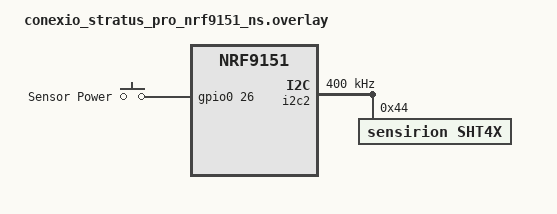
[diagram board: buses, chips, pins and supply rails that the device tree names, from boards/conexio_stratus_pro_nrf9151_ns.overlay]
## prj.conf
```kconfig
#
# Copyright (c) 2024 Conexio Technologies, Inc
#
# SPDX-License-Identifier: Apache-2.0
#

CONFIG_CBPRINTF_FP_SUPPORT=y

# Enable I2C
CONFIG_I2C=y

# Enable sensors
CONFIG_SENSOR=y

# Enable SHT4X sensor
CONFIG_SHT4X=y
CONFIG_PM_DEVICE=y

CONFIG_LOG=y
CONFIG_SENSOR_LOG_LEVEL_DBG=y

# Enable nPM1300 fuel gauge and Regulator control
CONFIG_REGULATOR=y
CONFIG_NRF_FUEL_GAUGE=y

# Enable Zephyr application to be booted by MCUboot
CONFIG_BOOTLOADER_MCUBOOT=y
```

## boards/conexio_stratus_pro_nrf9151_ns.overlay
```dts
/*
 * Copyright (c) 2024 Conexio Technologies, Inc
 *
 * SPDX-License-Identifier: Apache-2.0
 */

/*
 * Stratus Pro nRF9151 device overlay configuration for SHT4x sensor connected to QWIIC port
 *
 */
&i2c2 {
	status = "okay";
	clock-frequency = <I2C_BITRATE_FAST>;
	sht4x@44 {
		status = "okay";
		compatible = "sensirion,sht4x";
		reg = <0x44>;
		repeatability = <2>;
	};
};

/ {
    aliases {
        power = &powerctrl;
    };
    gpio_keys {
        compatible = "gpio-keys";
        powerctrl: power_ctrl {
            gpios = <&gpio0 26 GPIO_ACTIVE_HIGH>;
            label = "Sensor Power";
        };
    };
};
```

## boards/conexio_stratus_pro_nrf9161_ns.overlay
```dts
/*
 * Copyright (c) 2024 Conexio Technologies, Inc
 *
 * SPDX-License-Identifier: Apache-2.0
 */

/*
 * Stratus Pro nRF9161 device overlay configuration for SHT4x sensor connected to QWIIC port
 *
 */
&i2c2 {
	status = "okay";
	clock-frequency = <I2C_BITRATE_FAST>;
	sht4x@44 {
		status = "okay";
		compatible = "sensirion,sht4x";
		reg = <0x44>;
		repeatability = <2>;
	};
};

/ {
    aliases {
        power = &powerctrl;
    };
    gpio_keys {
        compatible = "gpio-keys";
        powerctrl: power_ctrl {
            gpios = <&gpio0 26 GPIO_ACTIVE_HIGH>;
            label = "Sensor Power";
        };
    };
};
```

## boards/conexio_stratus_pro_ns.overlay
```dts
/*
 * Copyright (c) 2024 Conexio Technologies, Inc
 *
 * SPDX-License-Identifier: Apache-2.0
 */

/*
 * Stratus Pro device overlay configuration for SHT4x sensor connected to QWIIC port
 *
 */
&i2c2 {
	status = "okay";
	clock-frequency = <I2C_BITRATE_FAST>;
	sht4x@44 {
		status = "okay";
		compatible = "sensirion,sht4x";
		reg = <0x44>;
		repeatability = <2>;
	};
};

/ {
    aliases {
        power = &powerctrl;
    };
    gpio_keys {
        compatible = "gpio-keys";
        powerctrl: power_ctrl {
            gpios = <&gpio0 26 GPIO_ACTIVE_HIGH>;
            label = "Sensor Power";
        };
    };
};
```

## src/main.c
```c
/*
 * Copyright (c) 2025 Conexio Technologies, Inc.
 * Author: Rajeev Piyare <rajeev@conexiotech.com>
 *
 * SPDX-License-Identifier: Apache-2.0
 */

#include <zephyr/kernel.h>
#include <zephyr/device.h>
#include <zephyr/drivers/sensor.h>
#include <stdio.h>
#include <zephyr/drivers/sensor/sht4x.h>
#include <zephyr/drivers/gpio.h>
#include <zephyr/drivers/mfd/npm1300.h>
#include <zephyr/drivers/regulator.h>

#if !DT_HAS_COMPAT_STATUS_OKAY(sensirion_sht4x)
#error "No sensirion,sht4x compatible node found in the device tree"
#endif

static const struct device *buck2 = DEVICE_DT_GET(DT_NODELABEL(reg_3v3));

/* Set the sleep time */
#define SLEEP_TIME_MS 5000

static int setup_npm1300(void)
{
  int err;

  /* Get nPM1300 pmic */
  static const struct device *pmic = DEVICE_DT_GET(DT_INST(0, nordic_npm1300));
  if (!pmic)
  {
    printf("Failed to get PMIC device\n");
    return -ENODEV;
  }

  /* Disable 3.3V BUCK2 if not already disabled */
  if (regulator_is_enabled(buck2))
  {
    err = regulator_disable(buck2);
    if (err < 0)
    {
      printf("Failed to disable buck2: %d", err);
      return err;
    }
  }

  return 0;
}
/**
 * @brief Sets 3V3 regulator ON/OFF for QWIIC, LED, and GPS LNA
 *
 * @param state bool state ON or OFF
 * @return none
 */
static int set_power_gate(bool state)
{
    int err = 0;

    if (!buck2) {
        printf("Buck2 regulator device not found\n");
        return -ENODEV;
    }

    if (state) {
        if (!regulator_is_enabled(buck2)) {
            err = regulator_enable(buck2);
            if (err < 0) {
                printf("Failed to enable buck2: %d\n", err);
                return err;
            }
            k_msleep(500);
        }
    } else {
        if (regulator_is_enabled(buck2)) {
            err = regulator_disable(buck2);
            if (err < 0) {
                printf("Failed to disable buck2: %d\n", err);
                return err;
            }
        }
    }

    return err;
}

int main(void)
{
	printf("SHT4X sensor sample running on %s\n", CONFIG_BOARD);
	setup_npm1300();

	// setup sht4x sensor 
	const struct device *sht = DEVICE_DT_GET_ANY(sensirion_sht4x);
	struct sensor_value temp, hum;

	// Turn ON power to the sensor connected to QWIIC port
	set_power_gate(true);

	if (!device_is_ready(sht)) {
		printf("Device %s is not ready.\n", sht->name);
		return 0;
	}

	// Turn OFF power to the sensor connected to QWIIC port
	set_power_gate(false);

	while (true) {
		
		// Turn ON power to the sensor to fetch a sample
		set_power_gate(true);

		if (sensor_sample_fetch(sht)) {
			printf("Failed to fetch sample from SHT4X device\n");
			return 0;
		}

		sensor_channel_get(sht, SENSOR_CHAN_AMBIENT_TEMP, &temp);
		sensor_channel_get(sht, SENSOR_CHAN_HUMIDITY, &hum);

		// Turn OFF power to the sensor connected to QWIIC port
		set_power_gate(false);

		printf("SHT4X: Temp: %d.%06d degC; RH: %d.%06d %%\n", temp.val1, temp.val2, hum.val1, hum.val2);

		k_msleep(SLEEP_TIME_MS);

	}
}
```
